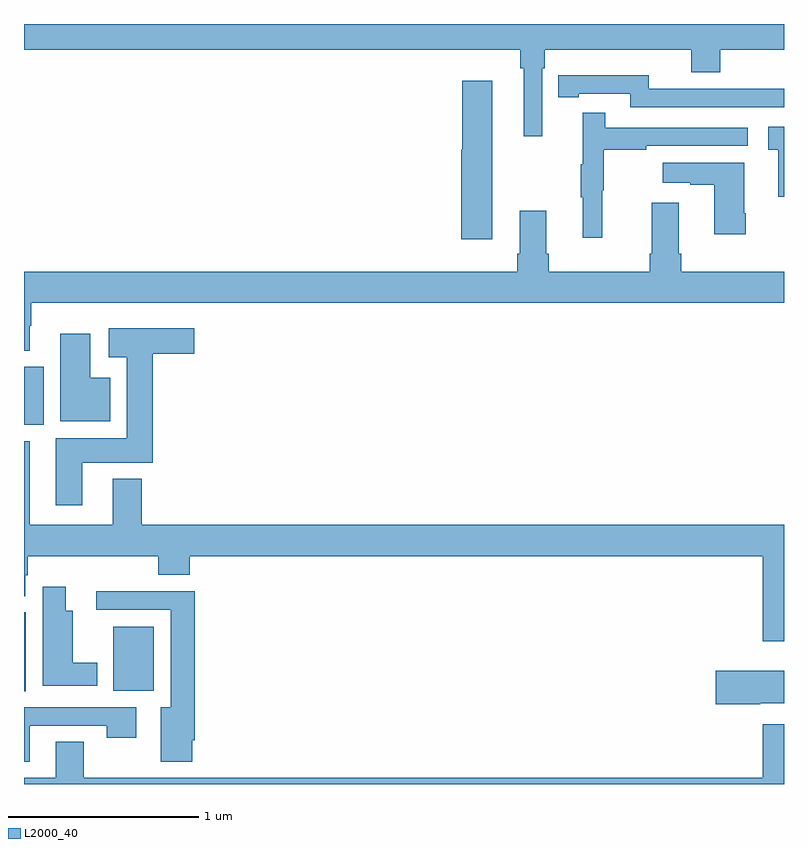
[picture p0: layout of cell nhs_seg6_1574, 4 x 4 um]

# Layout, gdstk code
import gdstk
lib = gdstk.Library(unit=1e-6, precision=1e-09)
def R(c, l, rs):  # rectangles x0, y0, x1, y1
    for r in rs: c.add(gdstk.rectangle(r[:2], r[2:], *l))
def P(c, l, *ps):  # polygons
    for p in ps: c.add(gdstk.Polygon(p, *l))
L2000_40 = (2000, 40)

nhs_seg6_1574 = lib.new_cell('nhs_seg6_1574')
R(nhs_seg6_1574, L2000_40, [(207,915.988,207.01,916.404), (207.47,915.992,207.682,916.327), (207,917.39,207.103,917.695)])
P(nhs_seg6_1574, L2000_40, [(209.727,919.268),(209.741,919.268),(209.741,919.364),(210.512,919.364),(210.512,919.247),(210.665,919.247),(210.665,919.364),(211,919.364),(211,919.5),(207,919.5),(207,919.364),(209.611,919.364),(209.611,919.268),(209.63,919.268),(209.63,918.909),(209.727,918.909)],
  [(211,919.16),(210.748,919.16),(210.748,919.158),(210.288,919.158),(210.288,919.231),(209.92,919.231),(209.92,919.23),(209.812,919.23),(209.812,919.114),(209.92,919.114),(209.92,919.134),(210.192,919.134),(210.192,919.062),(211,919.062)],
  [(209.464,919.201),(209.306,919.201),(209.306,918.837),(209.3,918.837),(209.3,918.366),(209.464,918.366)],
  [(210.044,918.624),(210.052,918.624),(210.052,918.838),(210.275,918.838),(210.275,918.858),(210.808,918.858),(210.808,918.954),(210.059,918.954),(210.059,919.033),(209.942,919.033),(209.942,918.761),(209.931,918.761),(209.931,918.587),(209.942,918.587),(209.942,918.375),(210.044,918.375)],
  [(211,918.958),(210.918,918.958),(210.918,918.837),(210.971,918.837),(210.971,918.591),(211,918.591)],
  [(210.798,918.505),(210.79,918.505),(210.79,918.769),(210.363,918.769),(210.363,918.665),(210.506,918.665),(210.506,918.655),(210.632,918.655),(210.632,918.393),(210.798,918.393)],
  [(207.031,917.912),(207.039,917.912),(207.039,918.032),(211,918.032),(211,918.196),(210.458,918.196),(210.458,918.292),(210.445,918.292),(210.445,918.559),(210.305,918.559),(210.305,918.292),(210.293,918.292),(210.293,918.196),(209.762,918.196),(209.762,918.292),(209.749,918.292),(209.749,918.517),(209.609,918.517),(209.609,918.292),(209.597,918.292),(209.597,918.196),(207,918.196),(207,917.78),(207.031,917.78)],
  [(207.307,917.192),(207.677,917.192),(207.677,917.765),(207.895,917.765),(207.895,917.899),(207.447,917.899),(207.447,917.747),(207.542,917.747),(207.542,917.32),(207.167,917.32),(207.167,916.968),(207.307,916.968)],
  [(207.454,917.638),(207.349,917.638),(207.349,917.869),(207.191,917.869),(207.191,917.408),(207.454,917.408)],
  [(211,916.864),(207.62,916.864),(207.62,917.107),(207.467,917.107),(207.467,916.864),(207.031,916.864),(207.031,917.305),(207,917.305),(207,916.489),(207.007,916.489),(207.007,916.599),(207.02,916.599),(207.02,916.7),(207.707,916.7),(207.707,916.601),(207.872,916.601),(207.872,916.7),(210.888,916.7),(210.888,916.251),(211,916.251)],
  [(207.385,916.138),(207.256,916.138),(207.256,916.411),(207.22,916.411),(207.22,916.537),(207.098,916.537),(207.098,916.016),(207.385,916.016)],
  [(207.886,915.73),(207.899,915.73),(207.899,916.514),(207.381,916.514),(207.381,916.416),(207.773,916.416),(207.773,915.904),(207.719,915.904),(207.719,915.618),(207.886,915.618)],
  [(210.876,915.926),(211,915.926),(211,916.097),(210.642,916.097),(210.642,915.919),(210.876,915.919)],
  [(207.031,915.807),(207.436,915.807),(207.436,915.744),(207.592,915.744),(207.592,915.903),(207,915.903),(207,915.618),(207.031,915.618)],
  [(211,915.814),(210.888,915.814),(210.888,915.532),(207.315,915.532),(207.315,915.722),(207.167,915.722),(207.167,915.532),(207,915.532),(207,915.5),(211,915.5)])

lib.write_gds('nhs_seg6_1574.gds')
